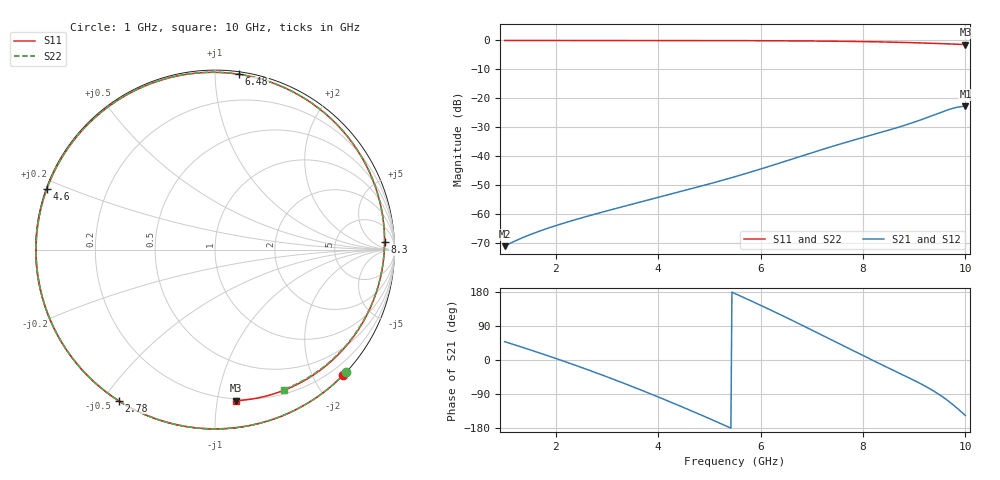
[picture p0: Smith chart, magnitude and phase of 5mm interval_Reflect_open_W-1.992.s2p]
! Touchstone file exported from HFSS 2018.2.0
!  File:  C:/Users/10024/OneDrive - The University of Nottingham Ningbo China/Year 4/Final Year Project/HFSS project/Patch-1.aedt
!  Generated:  5:39:45 下午  3月 10, 2022
!  Design:  SMA_Reflect
!  Project:  Patch-1
!  Setup:  Setup1
!  Solution:  Sweep
! Variables:
!  MW = 1.992mm
!  ThruL = 5mm
!  g = 0.2mm
!  subH = 0.8mm
!  subX = 20mm
!  subY = 15mm
# GHZ S MA R 50.000000
! Modal data exported
! Port[1] = SMA_CONNECTOR1_1:1
! Port[2] = SMA_CONNECTOR2_1:1
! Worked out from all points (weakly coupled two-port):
!   451 points, 1 GHz to 10 GHz, reference 50 ohm
!   highest |S21| = -22.75 dB at 10 GHz (marker M1); lowest = -71.1 dB at 1 GHz (marker M2)
!   lowest |S11| = -1.4 dB at 10 GHz (marker M3), VSWR 12.32, Z = 9.34 - j56.6 ohm
!   |S11| at or under -10 dB: nowhere
!   |S22| runs from -1.2 to 0.0 dB; largest |S21 - S12| = 1.3e-15
!   S11 on the Smith chart (normalised r, x): 1 GHz: 0.00, -2.45; 2.78 GHz: 0.00, -0.55; 4.6 GHz: 0.00, +0.17; 6.48 GHz: 0.02, +1.15; 8.3 GHz: 21, +18; 10 GHz: 0.19, -1.13
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1  0.9993 -44.5  0.0002784 48.5  0.0002784 48.5  0.9993 -42.9
! Gamma ! 0.0151858380091284 30.3716836111894 0.0151858380091034 30.3716836111995
! Port Impedance50 0 50 0
1.4  0.999 -62.2  0.000407 31.2  0.000407 31.2  0.9991 -60.0
1.76  0.9988 -78.0  0.0005356 15.1  0.0005356 15.1  0.9989 -75.4
2.12  0.9986 -93.8  0.0006807 -1.5  0.0006807 -1.5  0.9987 -90.7
2.5  0.9984 -110.4  0.000857 -19.6  0.000857 -19.6  0.9985 -106.7
2.78  0.9982 -122.5  0.001006 -33.4  0.001006 -33.4  0.9984 -118.5
3.42  0.9978 -150.0  0.001424 -66.2  0.001424 -66.2  0.998 -145.1
4  0.9972 -174.6  0.001935 -97.5  0.001935 -97.5  0.9975 -169.0
4.6  0.9961 160.3  0.002662 -131.3  0.002662 -131.3  0.9966 166.7
5.04  0.9948 142.0  0.00339 -157.0  0.00339 -157.0  0.9956 148.9
5.5  0.9929 123.0  0.004418 175.3  0.004418 175.3  0.9941 130.5
6  0.9899 102.2  0.005991 144.3  0.005991 144.3  0.9918 110.6
6.48  0.9856 82.2  0.008149 113.5  0.008149 113.5  0.9885 91.3
7  0.9788 60.2  0.01144 79.1  0.01144 79.1  0.9832 70.4
7.7  0.9646 29.8  0.01769 31.6  0.01769 31.6  0.9719 41.5
8  0.956 16.3  0.02106 11.5  0.02106 11.5  0.9649 28.8
8.3  0.9456 2.6  0.02502 -8.2  0.02502 -8.2  0.9563 15.9
8.5  0.9376 -6.7  0.02812 -21.1  0.02812 -21.1  0.9495 7.2
8.84  0.9217 -22.9  0.03473 -43.1  0.03473 -43.1  0.9358 -8.0
9.2  0.902 -40.6  0.04469 -67.9  0.04469 -67.9  0.9182 -24.7
9.62  0.8756 -61.9  0.06147 -103.5  0.06147 -103.5  0.8936 -44.8
10  0.8499 -82.0  0.07289 -146.6  0.07289 -146.6  0.8686 -63.9
